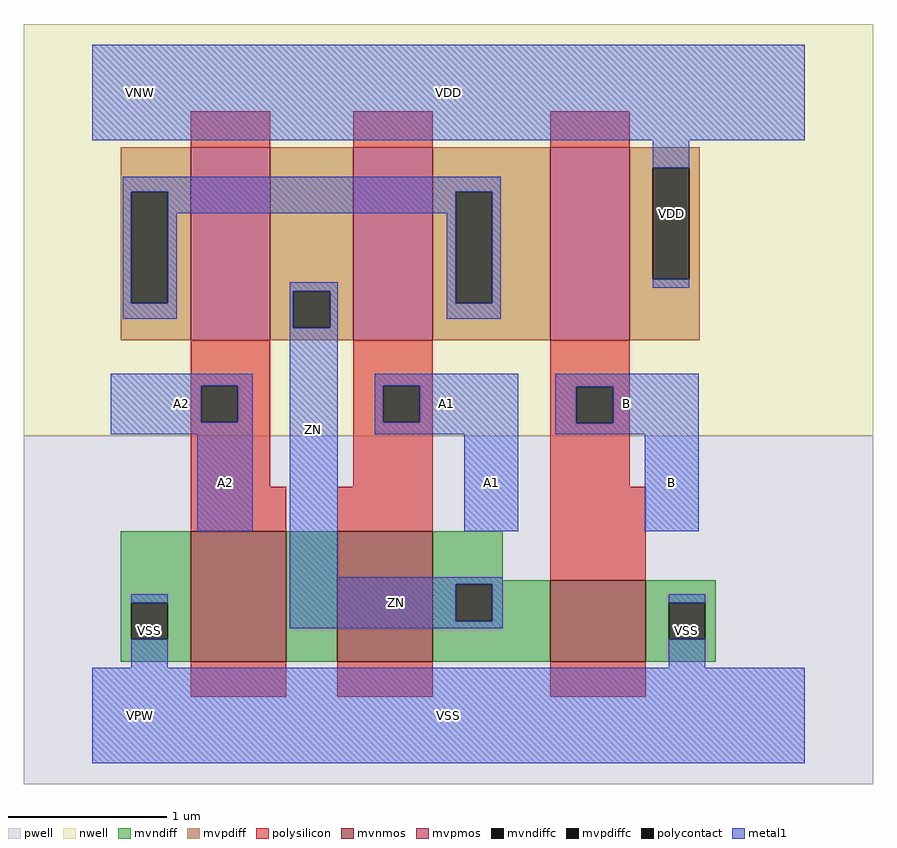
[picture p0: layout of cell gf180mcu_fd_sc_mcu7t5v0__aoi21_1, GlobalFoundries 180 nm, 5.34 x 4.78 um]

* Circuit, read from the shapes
.subckt gf180mcu_fd_sc_mcu7t5v0__aoi21_1 A1 A2 B ZN VDD VNW VPW VSS
XM1 n1 A2 VSS VPW nfet_06v0 w=0.82u l=0.6u
XM2 ZN A1 n1 VPW nfet_06v0 w=0.82u l=0.6u
XM3 VSS B ZN VPW nfet_06v0 w=0.51u l=0.6u
XM4 ZN A2 n2 VNW pfet_06v0 w=1.215u l=0.5u
XM5 n2 A1 ZN VNW pfet_06v0 w=1.215u l=0.5u
XM6 VDD B n2 VNW pfet_06v0 w=1.215u l=0.5u
.ends

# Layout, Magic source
magic
tech gf180mcuD
magscale 1 10
<< nwell >>
rect -86 352 982 870
<< pwell >>
rect -86 -86 982 352
<< mvnmos >>
rect 124 68 244 232
rect 308 68 428 232
rect 576 68 696 170
<< mvpmos >>
rect 124 472 224 715
rect 328 472 428 715
rect 576 472 676 715
<< mvndiff >>
rect 36 142 124 232
rect 36 96 49 142
rect 95 96 124 142
rect 36 68 124 96
rect 244 68 308 232
rect 428 170 516 232
rect 428 165 576 170
rect 428 119 457 165
rect 503 119 576 165
rect 428 68 576 119
rect 696 142 784 170
rect 696 96 725 142
rect 771 96 784 142
rect 696 68 784 96
<< mvpdiff >>
rect 36 659 124 715
rect 36 519 49 659
rect 95 519 124 659
rect 36 472 124 519
rect 224 534 328 715
rect 224 488 253 534
rect 299 488 328 534
rect 224 472 328 488
rect 428 659 576 715
rect 428 519 457 659
rect 503 519 576 659
rect 428 472 576 519
rect 676 689 764 715
rect 676 549 705 689
rect 751 549 764 689
rect 676 472 764 549
<< mvndiffc >>
rect 49 96 95 142
rect 457 119 503 165
rect 725 96 771 142
<< mvpdiffc >>
rect 49 519 95 659
rect 253 488 299 534
rect 457 519 503 659
rect 705 549 751 689
<< polysilicon >>
rect 124 715 224 760
rect 328 715 428 760
rect 576 715 676 760
rect 124 415 224 472
rect 124 369 137 415
rect 183 369 224 415
rect 124 288 224 369
rect 328 415 428 472
rect 328 369 366 415
rect 412 369 428 415
rect 328 288 428 369
rect 124 232 244 288
rect 308 232 428 288
rect 576 414 676 472
rect 576 368 609 414
rect 655 368 676 414
rect 576 288 676 368
rect 576 170 696 288
rect 124 24 244 68
rect 308 24 428 68
rect 576 24 696 68
<< polycontact >>
rect 137 369 183 415
rect 366 369 412 415
rect 609 368 655 414
<< metal1 >>
rect 0 724 896 844
rect 705 689 751 724
rect 38 659 514 678
rect 38 519 49 659
rect 95 632 457 659
rect 95 519 106 632
rect 38 499 106 519
rect 248 534 309 545
rect 248 488 253 534
rect 299 488 309 534
rect 446 519 457 632
rect 503 519 514 659
rect 705 538 751 549
rect 446 499 514 519
rect 23 415 202 430
rect 23 369 137 415
rect 183 369 202 415
rect 23 354 202 369
rect 132 232 202 354
rect 248 174 309 488
rect 355 415 536 430
rect 355 369 366 415
rect 412 369 536 415
rect 355 354 536 369
rect 582 414 763 430
rect 582 368 609 414
rect 655 368 763 414
rect 582 354 763 368
rect 468 232 536 354
rect 695 232 763 354
rect 248 165 516 174
rect 49 142 95 153
rect 248 119 457 165
rect 503 119 516 165
rect 248 110 516 119
rect 725 142 771 153
rect 49 60 95 96
rect 725 60 771 96
rect 0 -60 896 60
<< labels >>
flabel metal1 s 582 354 763 430 0 FreeSans 400 0 0 0 B
port 3 nsew default input
flabel metal1 s 0 724 896 844 0 FreeSans 400 0 0 0 VDD
port 5 nsew power bidirectional abutment
flabel metal1 s 725 60 771 153 0 FreeSans 400 0 0 0 VSS
port 8 nsew ground bidirectional abutment
flabel metal1 s 248 174 309 545 0 FreeSans 400 0 0 0 ZN
port 4 nsew default output
flabel metal1 s 355 354 536 430 0 FreeSans 400 0 0 0 A1
port 1 nsew default input
flabel metal1 s 23 354 202 430 0 FreeSans 400 0 0 0 A2
port 2 nsew default input
flabel nwell s 10 734 110 834 0 FreeSans 400 0 0 0 VNW
port 6 nsew power bidirectional
flabel pwell s 10 -50 110 50 0 FreeSans 400 0 0 0 VPW
port 7 nsew ground bidirectional
rlabel metal1 s 468 232 536 354 1 A1
port 1 nsew default input
rlabel metal1 s 132 232 202 354 1 A2
port 2 nsew default input
rlabel metal1 s 695 232 763 354 1 B
port 3 nsew default input
rlabel metal1 s 248 110 516 174 1 ZN
port 4 nsew default output
rlabel metal1 s 705 538 751 724 1 VDD
port 5 nsew power bidirectional abutment
rlabel metal1 s 49 60 95 153 1 VSS
port 8 nsew ground bidirectional abutment
rlabel metal1 s 0 -60 896 60 1 VSS
port 8 nsew ground bidirectional abutment
<< properties >>
string FIXED_BBOX 0 0 896 784
string GDS_END 1251538
string GDS_FILE $PDKPATH/libs.ref/gf180mcu_fd_sc_mcu7t5v0/gds/gf180mcu_fd_sc_mcu7t5v0.gds
string GDS_START 1248402
string LEFclass core
string LEFsite GF018hv5v_mcu_sc7
string LEFsymmetry X Y
<< end >>
